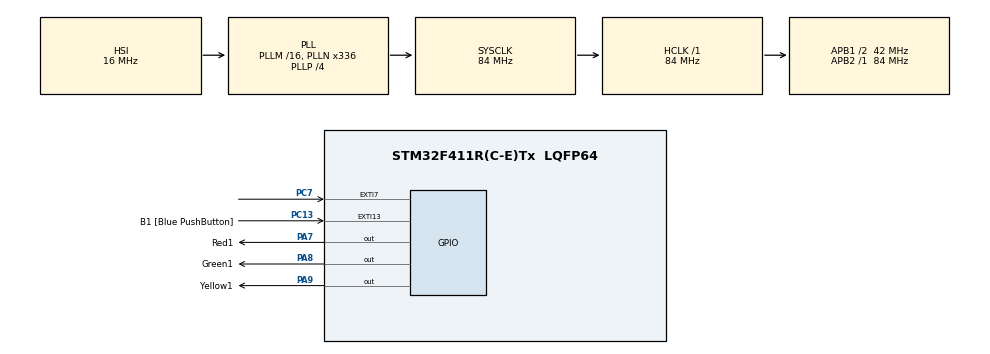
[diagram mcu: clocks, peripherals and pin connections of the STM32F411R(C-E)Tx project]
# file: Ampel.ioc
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Mcu.Family=STM32F4
Mcu.Name=STM32F411R(C-E)Tx
Mcu.Package=LQFP64
NVIC.EXTI15_10_IRQn=true\:0\:0\:false\:false\:true\:true
NVIC.EXTI9_5_IRQn=true\:0\:0\:false\:false\:true\:true
NVIC.PriorityGroup=NVIC_PRIORITYGROUP_0
NVIC.RCC_IRQn=true\:0\:0\:false\:false\:true\:true
PA13.GPIO_Label=TMS
PA13.Signal=SYS_JTMS-SWDIO
PA14.GPIO_Label=TCK
PA14.Signal=SYS_JTCK-SWCLK
PA2.GPIO_Label=USART_TX
PA2.Signal=USART2_TX
PA3.GPIO_Label=USART_RX
PA3.Signal=USART2_RX
PA7.GPIO_Label=Red1
PA7.GPIO_ModeDefaultOutputPP=GPIO_MODE_OUTPUT_PP
PA7.GPIO_PuPd=GPIO_PULLUP
PA7.PinState=GPIO_PIN_RESET
PA7.Signal=GPIO_Output
PA8.GPIO_Label=Green1
PA8.GPIO_ModeDefaultOutputPP=GPIO_MODE_OUTPUT_PP
PA8.GPIO_PuPd=GPIO_PULLUP
PA8.PinState=GPIO_PIN_RESET
PA8.Signal=GPIO_Output
PA9.GPIO_Label=Yellow1
PA9.GPIO_PuPd=GPIO_PULLUP
PA9.PinState=GPIO_PIN_RESET
PA9.Signal=GPIO_Output
PB3.GPIO_Label=SWO
PB3.Signal=SYS_JTDO-SWO
PC13-ANTI_TAMP.GPIO_Label=B1 [Blue PushButton]
PC13-ANTI_TAMP.GPIO_ModeDefaultEXTI=GPIO_MODE_IT_RISING
PC13-ANTI_TAMP.Signal=GPXTI13
PC14-OSC32_IN.Signal=RCC_OSC32_IN
PC15-OSC32_OUT.Signal=RCC_OSC32_OUT
PC7.Signal=GPXTI7
PH0\ -\ OSC_IN.Signal=RCC_OSC_IN
PH1\ -\ OSC_OUT.Signal=RCC_OSC_OUT
ProjectManager.HeapSize=0x200
ProjectManager.StackSize=0x400
ProjectManager.TargetToolchain=SW4STM32
RCC.48MHZClocksFreq_Value=84000000
RCC.AHBFreq_Value=84000000
RCC.APB1CLKDivider=RCC_HCLK_DIV2
RCC.APB1Freq_Value=42000000
RCC.APB1TimFreq_Value=84000000
RCC.APB2Freq_Value=84000000
RCC.APB2TimFreq_Value=84000000
RCC.CortexFreq_Value=84000000
RCC.FLatency-AdvancedSettings=FLASH_LATENCY_2
RCC.HCLKFreq_Value=84000000
RCC.HSE_VALUE=8000000
RCC.HSI_VALUE=16000000
RCC.LSE_VALUE=32768
RCC.PLLN=336
RCC.PLLP=RCC_PLLP_DIV4
RCC.SYSCLKFreq_VALUE=84000000
RCC.SYSCLKSource=RCC_SYSCLKSOURCE_PLLCLK
RCC.VCOOutputFreq_Value=336000000
board=NUCLEO-F411RE

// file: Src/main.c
/**
 ******************************************************************************
 * File Name          : main.c
 * Description        : Main program body
 ******************************************************************************
 *
 * COPYRIGHT(c) 2016 STMicroelectronics
 *
 * Redistribution and use in source and binary forms, with or without modification,
 * are permitted provided that the following conditions are met:
 *   1. Redistributions of source code must retain the above copyright notice,
 *      this list of conditions and the following disclaimer.
 *   2. Redistributions in binary form must reproduce the above copyright notice,
 *      this list of conditions and the following disclaimer in the documentation
 *      and/or other materials provided with the distribution.
 *   3. Neither the name of STMicroelectronics nor the names of its contributors
 *      may be used to endorse or promote products derived from this software
 *      without specific prior written permission.
 *
 * THIS SOFTWARE IS PROVIDED BY THE COPYRIGHT HOLDERS AND CONTRIBUTORS "AS IS"
 * AND ANY EXPRESS OR IMPLIED WARRANTIES, INCLUDING, BUT NOT LIMITED TO, THE
 * IMPLIED WARRANTIES OF MERCHANTABILITY AND FITNESS FOR A PARTICULAR PURPOSE ARE
 * DISCLAIMED. IN NO EVENT SHALL THE COPYRIGHT HOLDER OR CONTRIBUTORS BE LIABLE
 * FOR ANY DIRECT, INDIRECT, INCIDENTAL, SPECIAL, EXEMPLARY, OR CONSEQUENTIAL
 * DAMAGES (INCLUDING, BUT NOT LIMITED TO, PROCUREMENT OF SUBSTITUTE GOODS OR
 * SERVICES; LOSS OF USE, DATA, OR PROFITS; OR BUSINESS INTERRUPTION) HOWEVER
 * CAUSED AND ON ANY THEORY OF LIABILITY, WHETHER IN CONTRACT, STRICT LIABILITY,
 * OR TORT (INCLUDING NEGLIGENCE OR OTHERWISE) ARISING IN ANY WAY OUT OF THE USE
 * OF THIS SOFTWARE, EVEN IF ADVISED OF THE POSSIBILITY OF SUCH DAMAGE.
 *
 ******************************************************************************
 */
#include "stm32f4xx_hal.h"

/* USER CODE BEGIN Includes */
#include "../src-gen/Ampel.h"
#include "../Src/timer.h"

/* USER CODE END Includes */

/* USER CODE BEGIN PV */
/* Private variables ---------------------------------------------------------*/
uint16_t tDelay = 250;
int Toogle = 0;
int ToogleOld = 0;

/* USER CODE END PV */

void SystemClock_Config(void);
void Error_Handler(void);
static void MX_GPIO_Init(void);

/* USER CODE BEGIN PFP */
/* Private function prototypes -----------------------------------------------*/

/* USER CODE END PFP */

/* USER CODE BEGIN 0 */
void ampelIface_toogleGreen(const Ampel* handle) {
	HAL_GPIO_TogglePin(GPIOA, GPIO_PIN_8);
}

void ampelIface_toogleYellow(const Ampel* handle) {
	HAL_GPIO_TogglePin(GPIOA, GPIO_PIN_9);
}

void ampelIface_toogleRed(const Ampel* handle) {
	HAL_GPIO_TogglePin(GPIOA, GPIO_PIN_7);
}

void ampelIface_offGreen(const Ampel* handle) {
	HAL_GPIO_WritePin(GPIOA, GPIO_PIN_8, GPIO_PIN_RESET);
}

void ampelIface_offYellow(const Ampel* handle) {
	HAL_GPIO_WritePin(GPIOA, GPIO_PIN_9, GPIO_PIN_RESET);
}

void ampelIface_offRed(const Ampel* handle) {
	HAL_GPIO_WritePin(GPIOA, GPIO_PIN_7, GPIO_PIN_RESET);
}

void ampelIface_onGreen(const Ampel* handle) {
	HAL_GPIO_WritePin(GPIOA, GPIO_PIN_8, GPIO_PIN_SET);
}

void ampelIface_onYellow(const Ampel* handle) {
	HAL_GPIO_WritePin(GPIOA, GPIO_PIN_9, GPIO_PIN_SET);
}

void ampelIface_onRed(const Ampel* handle) {
	HAL_GPIO_WritePin(GPIOA, GPIO_PIN_7, GPIO_PIN_SET);
}

/* USER CODE END 0 */

int main(void) {

	/* USER CODE BEGIN 1 */
	int i;
	Ampel handle;

	/* USER CODE END 1 */

	/* MCU Configuration----------------------------------------------------------*/

	/* Reset of all peripherals, Initializes the Flash interface and the Systick. */
	HAL_Init();

	/* Configure the system clock */
	SystemClock_Config();

	/* Initialize all configured peripherals */
	MX_GPIO_Init();

	/* Infinite loop */
	/* USER CODE BEGIN WHILE */
	ampel_init(&handle);
	ampel_enter(&handle);

	while (1) {
		ampel_runCycle(&handle);

		HAL_Delay(20);

		if (Toogle != ToogleOld) {
			ampelIface_raise_evPushButton(&handle);
			ampelIface_set_push(&handle, 1);
			ToogleOld = Toogle;
		}

		TimerDecrease();

		/* USER CODE END WHILE */

	}

}

/** System Clock Configuration
 */
void SystemClock_Config(void) {

	RCC_OscInitTypeDef RCC_OscInitStruct;
	RCC_ClkInitTypeDef RCC_ClkInitStruct;

	__HAL_RCC_PWR_CLK_ENABLE()
	;

	__HAL_PWR_VOLTAGESCALING_CONFIG(PWR_REGULATOR_VOLTAGE_SCALE1);

	RCC_OscInitStruct.OscillatorType = RCC_OSCILLATORTYPE_HSI;
	RCC_OscInitStruct.HSIState = RCC_HSI_ON;
	RCC_OscInitStruct.HSICalibrationValue = 16;
	RCC_OscInitStruct.PLL.PLLState = RCC_PLL_ON;
	RCC_OscInitStruct.PLL.PLLSource = RCC_PLLSOURCE_HSI;
	RCC_OscInitStruct.PLL.PLLM = 16;
	RCC_OscInitStruct.PLL.PLLN = 336;
	RCC_OscInitStruct.PLL.PLLP = RCC_PLLP_DIV4;
	RCC_OscInitStruct.PLL.PLLQ = 4;
	if (HAL_RCC_OscConfig(&RCC_OscInitStruct) != HAL_OK) {
		Error_Handler();
	}

	RCC_ClkInitStruct.ClockType = RCC_CLOCKTYPE_HCLK | RCC_CLOCKTYPE_SYSCLK
			| RCC_CLOCKTYPE_PCLK1 | RCC_CLOCKTYPE_PCLK2;
	RCC_ClkInitStruct.SYSCLKSource = RCC_SYSCLKSOURCE_PLLCLK;
	RCC_ClkInitStruct.AHBCLKDivider = RCC_SYSCLK_DIV1;
	RCC_ClkInitStruct.APB1CLKDivider = RCC_HCLK_DIV2;
	RCC_ClkInitStruct.APB2CLKDivider = RCC_HCLK_DIV1;
	if (HAL_RCC_ClockConfig(&RCC_ClkInitStruct, FLASH_LATENCY_2) != HAL_OK) {
		Error_Handler();
	}

	HAL_SYSTICK_Config(HAL_RCC_GetHCLKFreq() / 1000);

	HAL_SYSTICK_CLKSourceConfig(SYSTICK_CLKSOURCE_HCLK);

	/* SysTick_IRQn interrupt configuration */
	HAL_NVIC_SetPriority(SysTick_IRQn, 0, 0);
}

/** Configure pins as
 * Analog
 * Input
 * Output
 * EVENT_OUT
 * EXTI
 PA2   ------> USART2_TX
 PA3   ------> USART2_RX
 */
static void MX_GPIO_Init(void) {

	GPIO_InitTypeDef GPIO_InitStruct;

	/* GPIO Ports Clock Enable */
	__HAL_RCC_GPIOC_CLK_ENABLE()
	;
	__HAL_RCC_GPIOH_CLK_ENABLE()
	;
	__HAL_RCC_GPIOA_CLK_ENABLE()
	;
	__HAL_RCC_GPIOB_CLK_ENABLE()
	;

	/*Configure GPIO pins : B1_Pin PC7 */
	GPIO_InitStruct.Pin = B1_Pin | GPIO_PIN_7;
	GPIO_InitStruct.Mode = GPIO_MODE_IT_RISING;
	GPIO_InitStruct.Pull = GPIO_NOPULL;
	HAL_GPIO_Init(GPIOC, &GPIO_InitStruct);

	/*Configure GPIO pins : USART_TX_Pin USART_RX_Pin */
	GPIO_InitStruct.Pin = USART_TX_Pin | USART_RX_Pin;
	GPIO_InitStruct.Mode = GPIO_MODE_AF_PP;
	GPIO_InitStruct.Pull = GPIO_NOPULL;
	GPIO_InitStruct.Speed = GPIO_SPEED_FREQ_VERY_HIGH;
	GPIO_InitStruct.Alternate = GPIO_AF7_USART2;
	HAL_GPIO_Init(GPIOA, &GPIO_InitStruct);

	/*Configure GPIO pins : Red1_Pin Green1_Pin Yellow1_Pin */
	GPIO_InitStruct.Pin = Red1_Pin | Green1_Pin | Yellow1_Pin;
	GPIO_InitStruct.Mode = GPIO_MODE_OUTPUT_PP;
	GPIO_InitStruct.Pull = GPIO_PULLUP;
	GPIO_InitStruct.Speed = GPIO_SPEED_FREQ_LOW;
	HAL_GPIO_Init(GPIOA, &GPIO_InitStruct);

	/*Configure GPIO pin Output Level */
	HAL_GPIO_WritePin(GPIOA, Red1_Pin | Green1_Pin | Yellow1_Pin,
			GPIO_PIN_RESET);

	/* EXTI interrupt init*/
	HAL_NVIC_SetPriority(EXTI9_5_IRQn, 0, 0);
	HAL_NVIC_EnableIRQ(EXTI9_5_IRQn);

	HAL_NVIC_SetPriority(EXTI15_10_IRQn, 0, 0);
	HAL_NVIC_EnableIRQ(EXTI15_10_IRQn);

}

void Error_Handler(void) {
	while (1) {
	}
}

/************************ (C) COPYRIGHT STMicroelectronics *****END OF FILE****/
